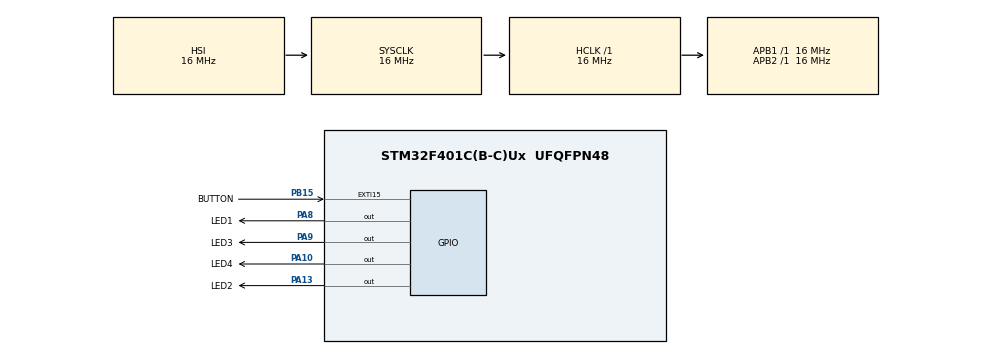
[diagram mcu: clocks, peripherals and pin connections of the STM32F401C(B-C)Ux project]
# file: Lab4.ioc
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Mcu.Family=STM32F4
Mcu.Name=STM32F401C(B-C)Ux
Mcu.Package=UFQFPN48
NVIC.EXTI15_10_IRQn=true\:0\:0\:false\:true\:true\:4\:true\:true\:true
NVIC.PriorityGroup=NVIC_PRIORITYGROUP_4
NVIC.TIM2_IRQn=true\:0\:0\:false\:true\:true\:1\:true\:true\:true
NVIC.TIM3_IRQn=true\:0\:0\:false\:true\:true\:2\:true\:true\:true
NVIC.TIM4_IRQn=true\:0\:0\:false\:true\:true\:3\:true\:true\:true
PA10.GPIO_Label=LED4
PA10.Signal=GPIO_Output
PA13.GPIO_Label=LED2
PA13.Signal=GPIO_Output
PA8.GPIO_Label=LED1
PA8.Signal=GPIO_Output
PA9.GPIO_Label=LED3
PA9.Signal=GPIO_Output
PB15.GPIO_Label=BUTTON
PB15.GPIO_ModeDefaultEXTI=GPIO_MODE_IT_RISING_FALLING
PB15.Signal=GPXTI15
ProjectManager.HeapSize=0x200
ProjectManager.StackSize=0x400
ProjectManager.TargetToolchain=STM32CubeIDE
RCC.AHBFreq_Value=16000000
RCC.APB1Freq_Value=16000000
RCC.APB2Freq_Value=16000000
RCC.CortexFreq_Value=16000000
RCC.HSE_VALUE=25000000
RCC.HSI_VALUE=16000000
RCC.LSE_VALUE=32768
RCC.SYSCLKFreq_VALUE=16000000
RCC.VCOOutputFreq_Value=192000000
TIM2.Period=200
TIM2.Prescaler=8000
TIM2.TIM_MasterOutputTrigger=TIM_TRGO_UPDATE
TIM3.AutoReloadPreload=TIM_AUTORELOAD_PRELOAD_DISABLE
TIM3.Period=300
TIM3.Prescaler=8000
TIM3.TIM_MasterOutputTrigger=TIM_TRGO_UPDATE
TIM4.Period=100
TIM4.Prescaler=8000
TIM4.TIM_MasterOutputTrigger=TIM_TRGO_UPDATE
VP_TIM2_VS_ClockSourceINT.Mode=Internal
VP_TIM3_VS_ClockSourceINT.Mode=Internal
VP_TIM4_VS_ClockSourceINT.Mode=Internal
board=custom

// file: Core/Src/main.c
/* USER CODE BEGIN Header */
/**
  ******************************************************************************
  * @file           : main.c
  * @brief          : Main program body
  ******************************************************************************
  * @attention
  *
  * Copyright (c) 2022 STMicroelectronics.
  * All rights reserved.
  *
  * This software is licensed under terms that can be found in the LICENSE file
  * in the root directory of this software component.
  * If no LICENSE file comes with this software, it is provided AS-IS.
  *
  ******************************************************************************
  */
/* USER CODE END Header */
#include "main.h"
#include <stdbool.h>

TIM_HandleTypeDef htim2;
TIM_HandleTypeDef htim3;
TIM_HandleTypeDef htim4;

void SystemClock_Config(void);
static void MX_GPIO_Init(void);
static void MX_TIM2_Init(void);
static void MX_TIM3_Init(void);
static void MX_TIM4_Init(void);
static void MX_NVIC_Init(void);

/* USER CODE BEGIN 0 */
bool flag = false;
/* USER CODE END 0 */

int main(void)
{

  /* MCU Configuration--------------------------------------------------------*/

  /* Reset of all peripherals, Initializes the Flash interface and the Systick. */
  HAL_Init();

  /* Configure the system clock */
  SystemClock_Config();

  /* Initialize all configured peripherals */
  MX_GPIO_Init();
  MX_TIM2_Init();
  MX_TIM3_Init();
  MX_TIM4_Init();

  /* Initialize interrupts */
  MX_NVIC_Init();
  /* USER CODE BEGIN 2 */
HAL_TIM_Base_Start_IT(&htim2);
HAL_TIM_Base_Start_IT(&htim3);
HAL_TIM_Base_Start_IT(&htim4);

  /* USER CODE END 2 */

  /* Infinite loop */
  while (1)
  {
	  HAL_GPIO_TogglePin(LED2_GPIO_Port, LED2_Pin);
	  	 	 	  HAL_Delay(500);
  }
}

void SystemClock_Config(void)
{
  RCC_OscInitTypeDef RCC_OscInitStruct = {0};
  RCC_ClkInitTypeDef RCC_ClkInitStruct = {0};

  /** Configure the main internal regulator output voltage
  */
  __HAL_RCC_PWR_CLK_ENABLE();
  __HAL_PWR_VOLTAGESCALING_CONFIG(PWR_REGULATOR_VOLTAGE_SCALE2);

  /** Initializes the RCC Oscillators according to the specified parameters
  * in the RCC_OscInitTypeDef structure.
  */
  RCC_OscInitStruct.OscillatorType = RCC_OSCILLATORTYPE_HSI;
  RCC_OscInitStruct.HSIState = RCC_HSI_ON;
  RCC_OscInitStruct.HSICalibrationValue = RCC_HSICALIBRATION_DEFAULT;
  RCC_OscInitStruct.PLL.PLLState = RCC_PLL_NONE;
  if (HAL_RCC_OscConfig(&RCC_OscInitStruct) != HAL_OK)
  {
    Error_Handler();
  }

  /** Initializes the CPU, AHB and APB buses clocks
  */
  RCC_ClkInitStruct.ClockType = RCC_CLOCKTYPE_HCLK|RCC_CLOCKTYPE_SYSCLK
                              |RCC_CLOCKTYPE_PCLK1|RCC_CLOCKTYPE_PCLK2;
  RCC_ClkInitStruct.SYSCLKSource = RCC_SYSCLKSOURCE_HSI;
  RCC_ClkInitStruct.AHBCLKDivider = RCC_SYSCLK_DIV1;
  RCC_ClkInitStruct.APB1CLKDivider = RCC_HCLK_DIV1;
  RCC_ClkInitStruct.APB2CLKDivider = RCC_HCLK_DIV1;

  if (HAL_RCC_ClockConfig(&RCC_ClkInitStruct, FLASH_LATENCY_0) != HAL_OK)
  {
    Error_Handler();
  }
}

/**
  * @brief NVIC Configuration.
  * @retval None
  */
static void MX_NVIC_Init(void)
{
  /* TIM2_IRQn interrupt configuration */
  HAL_NVIC_SetPriority(TIM2_IRQn, 0, 0);
  HAL_NVIC_EnableIRQ(TIM2_IRQn);
  /* TIM3_IRQn interrupt configuration */
  HAL_NVIC_SetPriority(TIM3_IRQn, 0, 0);
  HAL_NVIC_EnableIRQ(TIM3_IRQn);
  /* TIM4_IRQn interrupt configuration */
  HAL_NVIC_SetPriority(TIM4_IRQn, 0, 0);
  HAL_NVIC_EnableIRQ(TIM4_IRQn);
  /* EXTI15_10_IRQn interrupt configuration */
  HAL_NVIC_SetPriority(EXTI15_10_IRQn, 0, 0);
  HAL_NVIC_EnableIRQ(EXTI15_10_IRQn);
}

static void MX_TIM2_Init(void)
{

  TIM_ClockConfigTypeDef sClockSourceConfig = {0};
  TIM_MasterConfigTypeDef sMasterConfig = {0};

  htim2.Instance = TIM2;
  htim2.Init.Prescaler = 8000;
  htim2.Init.CounterMode = TIM_COUNTERMODE_UP;
  htim2.Init.Period = 200;
  htim2.Init.ClockDivision = TIM_CLOCKDIVISION_DIV1;
  htim2.Init.AutoReloadPreload = TIM_AUTORELOAD_PRELOAD_DISABLE;
  if (HAL_TIM_Base_Init(&htim2) != HAL_OK)
  {
    Error_Handler();
  }
  sClockSourceConfig.ClockSource = TIM_CLOCKSOURCE_INTERNAL;
  if (HAL_TIM_ConfigClockSource(&htim2, &sClockSourceConfig) != HAL_OK)
  {
    Error_Handler();
  }
  sMasterConfig.MasterOutputTrigger = TIM_TRGO_UPDATE;
  sMasterConfig.MasterSlaveMode = TIM_MASTERSLAVEMODE_DISABLE;
  if (HAL_TIMEx_MasterConfigSynchronization(&htim2, &sMasterConfig) != HAL_OK)
  {
    Error_Handler();
  }

}

static void MX_TIM3_Init(void)
{

  TIM_ClockConfigTypeDef sClockSourceConfig = {0};
  TIM_MasterConfigTypeDef sMasterConfig = {0};

  htim3.Instance = TIM3;
  htim3.Init.Prescaler = 8000;
  htim3.Init.CounterMode = TIM_COUNTERMODE_UP;
  htim3.Init.Period = 300;
  htim3.Init.ClockDivision = TIM_CLOCKDIVISION_DIV1;
  htim3.Init.AutoReloadPreload = TIM_AUTORELOAD_PRELOAD_DISABLE;
  if (HAL_TIM_Base_Init(&htim3) != HAL_OK)
  {
    Error_Handler();
  }
  sClockSourceConfig.ClockSource = TIM_CLOCKSOURCE_INTERNAL;
  if (HAL_TIM_ConfigClockSource(&htim3, &sClockSourceConfig) != HAL_OK)
  {
    Error_Handler();
  }
  sMasterConfig.MasterOutputTrigger = TIM_TRGO_UPDATE;
  sMasterConfig.MasterSlaveMode = TIM_MASTERSLAVEMODE_DISABLE;
  if (HAL_TIMEx_MasterConfigSynchronization(&htim3, &sMasterConfig) != HAL_OK)
  {
    Error_Handler();
  }

}

static void MX_TIM4_Init(void)
{

  TIM_ClockConfigTypeDef sClockSourceConfig = {0};
  TIM_MasterConfigTypeDef sMasterConfig = {0};

  htim4.Instance = TIM4;
  htim4.Init.Prescaler = 8000;
  htim4.Init.CounterMode = TIM_COUNTERMODE_UP;
  htim4.Init.Period = 100;
  htim4.Init.ClockDivision = TIM_CLOCKDIVISION_DIV1;
  htim4.Init.AutoReloadPreload = TIM_AUTORELOAD_PRELOAD_DISABLE;
  if (HAL_TIM_Base_Init(&htim4) != HAL_OK)
  {
    Error_Handler();
  }
  sClockSourceConfig.ClockSource = TIM_CLOCKSOURCE_INTERNAL;
  if (HAL_TIM_ConfigClockSource(&htim4, &sClockSourceConfig) != HAL_OK)
  {
    Error_Handler();
  }
  sMasterConfig.MasterOutputTrigger = TIM_TRGO_UPDATE;
  sMasterConfig.MasterSlaveMode = TIM_MASTERSLAVEMODE_DISABLE;
  if (HAL_TIMEx_MasterConfigSynchronization(&htim4, &sMasterConfig) != HAL_OK)
  {
    Error_Handler();
  }

}

static void MX_GPIO_Init(void)
{
  GPIO_InitTypeDef GPIO_InitStruct = {0};

  /* GPIO Ports Clock Enable */
  __HAL_RCC_GPIOB_CLK_ENABLE();
  __HAL_RCC_GPIOA_CLK_ENABLE();

  /*Configure GPIO pin Output Level */
  HAL_GPIO_WritePin(GPIOA, LED1_Pin|LED3_Pin|LED4_Pin|LED2_Pin, GPIO_PIN_RESET);

  /*Configure GPIO pin : BUTTON_Pin */
  GPIO_InitStruct.Pin = BUTTON_Pin;
  GPIO_InitStruct.Mode = GPIO_MODE_IT_RISING_FALLING;
  GPIO_InitStruct.Pull = GPIO_NOPULL;
  HAL_GPIO_Init(BUTTON_GPIO_Port, &GPIO_InitStruct);

  /*Configure GPIO pins : LED1_Pin LED3_Pin LED4_Pin LED2_Pin */
  GPIO_InitStruct.Pin = LED1_Pin|LED3_Pin|LED4_Pin|LED2_Pin;
  GPIO_InitStruct.Mode = GPIO_MODE_OUTPUT_PP;
  GPIO_InitStruct.Pull = GPIO_NOPULL;
  GPIO_InitStruct.Speed = GPIO_SPEED_FREQ_LOW;
  HAL_GPIO_Init(GPIOA, &GPIO_InitStruct);

}

/* USER CODE BEGIN 4 */
void HAL_GPIO_EXTI_Callback(uint16_t GPIO_Pin)
{

	if(GPIO_Pin==BUTTON_Pin)
	{

		flag=!flag;
	}

}

void HAL_TIM_PeriodElapsedCallback(TIM_HandleTypeDef *htim)
{

	if(htim->Instance==TIM2)
		{

			if(!flag)
				HAL_GPIO_TogglePin(LED1_GPIO_Port, LED1_Pin);

		}
		if(htim->Instance==TIM3)
			{

			if(!flag)
					HAL_GPIO_TogglePin(LED3_GPIO_Port, LED3_Pin);

			}
		if(htim->Instance==TIM4)
			{

			if(!flag)
					HAL_GPIO_TogglePin(LED4_GPIO_Port, LED4_Pin);

			}

}

/* USER CODE END 4 */

void Error_Handler(void)
{
  __disable_irq();
  while (1)
  {
  }
}
